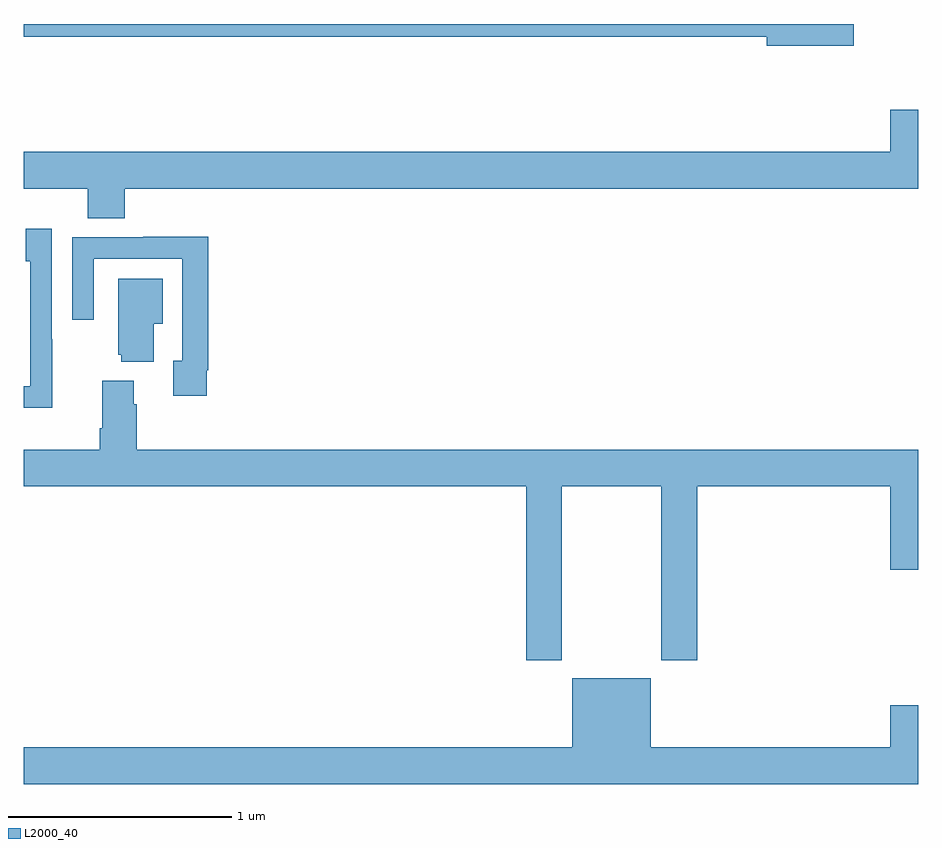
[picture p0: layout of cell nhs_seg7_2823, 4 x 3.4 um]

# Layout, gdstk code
import gdstk
lib = gdstk.Library(unit=1e-6, precision=1e-09)
def P(c, l, *ps):  # polygons
    for p in ps: c.add(gdstk.Polygon(p, *l))
L2000_40 = (2000, 40)

nhs_seg7_2823 = lib.new_cell('nhs_seg7_2823')
P(nhs_seg7_2823, L2000_40, [(296.713,1020),(293,1020),(293,1019.944),(296.324,1019.944),(296.324,1019.902),(296.713,1019.902)],
  [(293.45,1019.264),(297,1019.264),(297,1019.617),(296.876,1019.617),(296.876,1019.428),(293,1019.428),(293,1019.264),(293.285,1019.264),(293.285,1019.131),(293.45,1019.131)],
  [(293.127,1018.589),(293.124,1018.589),(293.124,1019.083),(293.009,1019.083),(293.009,1018.938),(293.028,1018.938),(293.028,1018.38),(293,1018.38),(293,1018.283),(293.127,1018.283)],
  [(293.818,1018.45),(293.825,1018.45),(293.825,1019.048),(293.533,1019.048),(293.533,1019.046),(293.217,1019.046),(293.217,1018.677),(293.313,1018.677),(293.313,1018.95),(293.709,1018.95),(293.709,1018.494),(293.669,1018.494),(293.669,1018.338),(293.818,1018.338)],
  [(293.581,1018.658),(293.62,1018.658),(293.62,1018.861),(293.423,1018.861),(293.423,1018.521),(293.435,1018.521),(293.435,1018.49),(293.581,1018.49)],
  [(295.407,1017.932),(295.852,1017.932),(295.852,1017.153),(296.012,1017.153),(296.012,1017.932),(296.876,1017.932),(296.876,1017.558),(297,1017.558),(297,1018.096),(293.504,1018.096),(293.504,1018.298),(293.491,1018.298),(293.491,1018.405),(293.351,1018.405),(293.351,1018.192),(293.339,1018.192),(293.339,1018.096),(293,1018.096),(293,1017.932),(295.247,1017.932),(295.247,1017.153),(295.407,1017.153)],
  [(297,1016.953),(296.876,1016.953),(296.876,1016.764),(295.804,1016.764),(295.804,1017.073),(295.454,1017.073),(295.454,1016.764),(293,1016.764),(293,1016.6),(297,1016.6)])

lib.write_gds('nhs_seg7_2823.gds')
